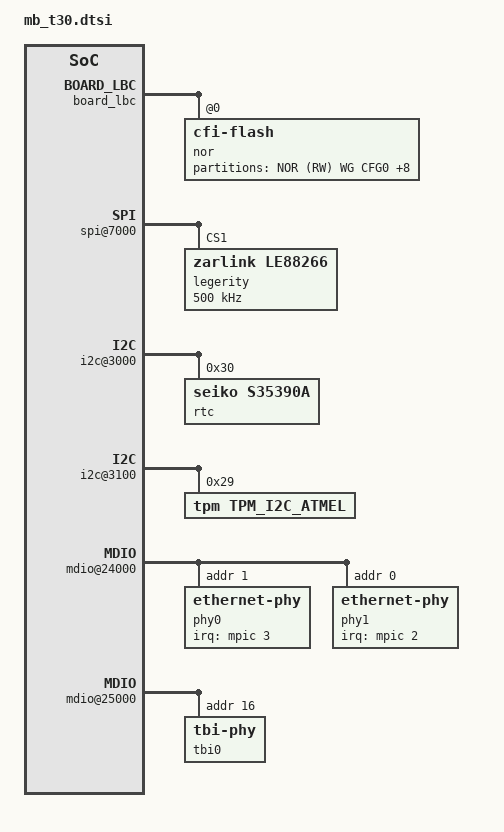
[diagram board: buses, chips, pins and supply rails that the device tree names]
/*
 * P1020 RDB Device Tree Source stub (no addresses or top-level ranges)
 *
 * Copyright 2011-2012 Freescale Semiconductor Inc.
 *
 * Redistribution and use in source and binary forms, with or without
 * modification, are permitted provided that the following conditions are met:
 *     * Redistributions of source code must retain the above copyright
 *       notice, this list of conditions and the following disclaimer.
 *     * Redistributions in binary form must reproduce the above copyright
 *       notice, this list of conditions and the following disclaimer in the
 *       documentation and/or other materials provided with the distribution.
 *     * Neither the name of Freescale Semiconductor nor the
 *       names of its contributors may be used to endorse or promote products
 *       derived from this software without specific prior written permission.
 *
 *
 * ALTERNATIVELY, this software may be distributed under the terms of the
 * GNU General Public License ("GPL") as published by the Free Software
 * Foundation, either version 2 of that License or (at your option) any
 * later version.
 *
 * THIS SOFTWARE IS PROVIDED BY Freescale Semiconductor ``AS IS'' AND ANY
 * EXPRESS OR IMPLIED WARRANTIES, INCLUDING, BUT NOT LIMITED TO, THE IMPLIED
 * WARRANTIES OF MERCHANTABILITY AND FITNESS FOR A PARTICULAR PURPOSE ARE
 * DISCLAIMED. IN NO EVENT SHALL Freescale Semiconductor BE LIABLE FOR ANY
 * DIRECT, INDIRECT, INCIDENTAL, SPECIAL, EXEMPLARY, OR CONSEQUENTIAL DAMAGES
 * (INCLUDING, BUT NOT LIMITED TO, PROCUREMENT OF SUBSTITUTE GOODS OR SERVICES;
 * LOSS OF USE, DATA, OR PROFITS; OR BUSINESS INTERRUPTION) HOWEVER CAUSED AND
 * ON ANY THEORY OF LIABILITY, WHETHER IN CONTRACT, STRICT LIABILITY, OR TORT
 * (INCLUDING NEGLIGENCE OR OTHERWISE) ARISING IN ANY WAY OUT OF THE USE OF THIS
 * SOFTWARE, EVEN IF ADVISED OF THE POSSIBILITY OF SUCH DAMAGE.
 */

&board_lbc {
	/* NOR Flash mapping on Boren */
	nor@0,0 {
		#address-cells = <1>;
		#size-cells = <1>;
		compatible = "cfi-flash";
		reg = <0x0 0x0 0x400000>;
		bank-width = <2>;
		device-width = <1>;

		partition@00000000 {
			/*128KB*/
			reg = <0x00000000 0x00020000>;
			label = "NOR (RW) WG CFG0";
		};

		partition@00020000 {
			/*64KB*/
			reg = <0x00020000 0x00010000>;
			label = "NOR (RW) WG CFG1";
		};

		partition@00030000 {
			/*128KB*/
			reg = <0x00030000 0x00020000>;
			label = "NOR (RW) WG MFG";
		};

		partition@00050000 {
			/*768KB*/
			reg = <0x00050000 0x000C0000>;
			label = "NOR (RW) WG bootOpt Data & reserved";
		};

		partition@00110000 {
			/*768KB*/
			reg = <0x00110000 0x000C0000>;
			label = "NOR (RW) WG extra reserved 1";
		};

		partition@001D0000 {
			/*768KB*/
			reg = <0x001D0000 0x000C0000>;
			label = "NOR (RW) WG extra reserved 2";
		};

		partition@00290000 {
			/*896KB*/
			reg = <0x00290000 0x000E0000>;
			label = "NOR (RW) Backup";
		};

		partition@00370000 {
			/*64KB*/
			reg = <0x00370000 0x00010000>;
			label = "NOR (RW) WG U-Boot ENV";
		};

		partition@00380000 {
			/*512KB*/
			reg = <0x00380000 0x00080000>;
			label = "NOR (RW) WG U-Boot Image";
		};
	};
};

&board_soc {
	/* Talor Lin added spi@7000/legerity@0 for PoE device driver */
	spi@7000 {
		cell-index = <0>;
		#address-cells = <1>;
		#size-cells = <0>;
		compatible = "fsl,mpc8536-espi";
		reg = <0x7000 0x1000>;
		interrupts = <59 0x2>;
		fsl,espi-num-chipselects = <4>;
		
		legerity@0{
			compatible = "zarlink,le88266";
			reg = <1>;
			spi-max-frequency = <500000>;
			mode = <1>;
		};
	};

	i2c@3000 {
		rtc@30 {
			compatible = "seiko,s35390a";
			reg = <0x30>;
		};
	};

	i2c@3100 {
		tpm@29 {
			compatible = "tpm,tpm_i2c_atmel";
			reg = <0x29>;
		};
	};

	usb@22000 {
		phy_type = "ulpi";
		dr_mode = "host";
	};

	/* USB2 is shared with localbus. It is used
	   only in case of SPI and SD boot after
	   appropriate device-tree fixup done by uboot */
	usb@23000 {
		phy_type = "ulpi";
		dr_mode = "host";
	};

	mdio@24000 {
		phy0: ethernet-phy@0 {
			interrupt-parent = <&mpic>;
			interrupts = <3 1>;
			reg = <0x1>;
		};
		phy1: ethernet-phy@1 {
			interrupt-parent = <&mpic>;
			interrupts = <2 1>;
			reg = <0x0>;
		};
	};

	mdio@25000 {
		tbi0: tbi-phy@0 {
		/* MJ: ????, shold it 0 or 11 or 10? */
			reg = <0x10>;
			device_type = "tbi-phy";
		};
	};

	enet0: ethernet@b0000 {
		/* MJ: cell-index = <0>; */
		fixed-link = <1 1 1000 0 0>;
		phy-connection-type = "rgmii-id";
	};

};
